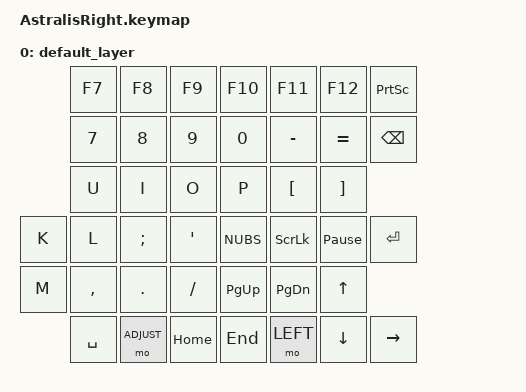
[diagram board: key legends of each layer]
 #include <behaviors.dtsi>
 #include <dt-bindings/zmk/keys.h>
 #include <dt-bindings/zmk/bt.h>

 / {
       keymap {
              compatible = "zmk,keymap";

              default_layer {
 // ---------------------------------------------------------------------------------------------------------------------------------
 // |        |   F7    |   F8    |   F9    |   F10   |   F11   |    F12    |  PrtSc |  
 // |        |    7    |    8    |    9    |    0    |    -    |     =     |  BSPC  |                               
 // |        |    U    |    I    |    O    |    P    |   LBKT  |    RBKT   |        |                     
 // |   K    |    L    |   SEMI  |   APOS  |   NUBS  |   SLCK  |PAUSE_BREAK|   RET  |                                
 // |   M    |    ,    |    .    |    /    |   PgUp  |   PgDn  |     UP    |        |                   
 // |      SPACE       |   ADJ   |  HOME   |   END   |   LEFT  |    DOWN   |  RIGHT |                   
                     bindings = <
                  &kp F7    &kp F8     &kp F9   &kp F10   &kp F11    &kp F12         &kp PSCRN              
                  &kp N7    &kp N8     &kp N9   &kp N0    &kp MINUS  &kp EQUAL       &kp BSPC                    
                  &kp U     &kp I      &kp O    &kp P     &kp LBKT   &kp RBKT                             
       &kp K      &kp L     &kp SEMI   &kp APOS &kp NUBS  &kp SLCK   &kp PAUSE_BREAK &kp RET                            
       &kp M      &kp COMMA &kp DOT    &kp FSLH &kp PG_UP &kp PG_DN  &kp UP                 
                  &kp SPACE &mo ADJUST &kp HOME &kp END  &mo LEFT    &kp DOWN        &kp RIGHT      
                     >;
              };
  
 //             adjust_layer {
 // ---------------------------------------------------------------------------------------------------------------------------------
 //            |  BT CLR  | BT SEL0  | BT SEL1  | BT SEL2  | BGT SEL3 | BT SEL4  |          |
 //            |    &     |    *     |   LPAR   |   RPAR   |   UNDER  |   PLUS   |          |    
 //            |  BT PRV  | OUT USB  | OUT BLE  |          |   LBRC   |   RBRC   |          |                               
 // |  BT NXT  | OUT TOG  |  COLON   |   DQT    |   PIPE2  |          |          |          |                                
 // |          |    LT    |    GT    |  QMARK   |          |          |          |          |                        
 // |                     |          |          |          |          |          |          |         
 //                    bindings = <
                  &bt BT_CLR   &bt BT_SEL 0 &bt BT_SEL 1 &bt BT_SEL 2 &bt BT_SEL 3 &bt BT_SEL 4 &trans  
                  &kp AMPS     &kp STAR     &kp LPAR     &kp RPAR     &kp UNDER    &kp PLUS     &trans                     
                  &bt BT_PRV   &out OUT_USB &out OUT_BLE &trans       &kp LBRC     &kp RBRC                     
       &bt BT_NXT &out OUT_TOG &kp COLON    &kp DQT      &kp PIPE2    &trans       &trans       &trans                   
       &bt BT_PRV &kp LT       &kp GT       &kp QMARK    &trans       &trans       &trans        
                  &trans       &trans       &trans       &trans       &trans       &trans       &trans   
                     >;
              };
       };
};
